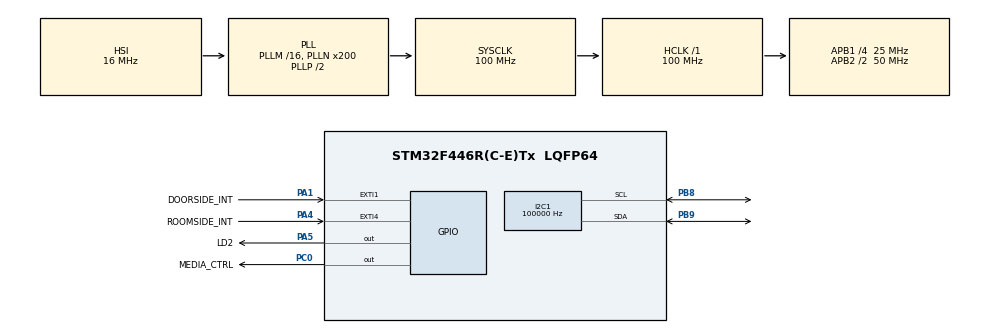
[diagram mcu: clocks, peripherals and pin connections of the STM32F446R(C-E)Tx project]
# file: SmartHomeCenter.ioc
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FREERTOS.Tasks01=defaultTask,0,128,StartDefaultTask,Default,NULL,Dynamic,NULL,NULL;mainTask,2,128,StartMainTask,Default,NULL,Dynamic,NULL,NULL
FREERTOS.configUSE_TIMERS=1
I2C1.ClockSpeed=100000
I2C1.OwnAddress=0x1C
Mcu.Family=STM32F4
Mcu.Name=STM32F446R(C-E)Tx
Mcu.Package=LQFP64
NVIC.EXTI1_IRQn=true\:5\:0\:false\:false\:true\:true\:true
NVIC.EXTI4_IRQn=true\:5\:0\:false\:false\:true\:true\:true
NVIC.PriorityGroup=NVIC_PRIORITYGROUP_4
PA1.GPIO_Label=DOORSIDE_INT
PA1.Signal=GPXTI1
PA4.GPIO_Label=ROOMSIDE_INT
PA4.Signal=GPXTI4
PA5.GPIO_Label=LD2
PA5.GPIO_Speed=GPIO_SPEED_FREQ_MEDIUM
PA5.Signal=GPIO_Output
PB8.Mode=I2C
PB8.Signal=I2C1_SCL
PB9.Mode=I2C
PB9.Signal=I2C1_SDA
PC0.GPIO_Label=MEDIA_CTRL
PC0.GPIO_PuPd=GPIO_PULLUP
PC0.PinState=GPIO_PIN_SET
PC0.Signal=GPIO_Output
ProjectManager.HeapSize=0x200
ProjectManager.StackSize=0x400
ProjectManager.TargetToolchain=EWARM V8
RCC.AHBFreq_Value=100000000
RCC.APB1CLKDivider=RCC_HCLK_DIV4
RCC.APB1Freq_Value=25000000
RCC.APB1TimFreq_Value=50000000
RCC.APB2CLKDivider=RCC_HCLK_DIV2
RCC.APB2Freq_Value=50000000
RCC.APB2TimFreq_Value=100000000
RCC.CortexFreq_Value=100000000
RCC.HCLKFreq_Value=100000000
RCC.PLLN=200
RCC.SYSCLKFreq_VALUE=100000000
RCC.SYSCLKSource=RCC_SYSCLKSOURCE_PLLCLK
RCC.USBFreq_Value=100000000
RCC.VCOOutputFreq_Value=200000000
VP_FREERTOS_VS_ENABLE.Mode=Enabled
board=custom

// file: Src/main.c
/**
  ******************************************************************************
  * @file           : main.c
  * @brief          : Main program body
  ******************************************************************************
  * This notice applies to any and all portions of this file
  * that are not between comment pairs USER CODE BEGIN and
  * USER CODE END. Other portions of this file, whether
  * inserted by the user or by software development tools
  * are owned by their respective copyright owners.
  *
  * Copyright (c) 2018 STMicroelectronics International N.V.
  * All rights reserved.
  *
  * Redistribution and use in source and binary forms, with or without
  * modification, are permitted, provided that the following conditions are met:
  *
  * 1. Redistribution of source code must retain the above copyright notice,
  *    this list of conditions and the following disclaimer.
  * 2. Redistributions in binary form must reproduce the above copyright notice,
  *    this list of conditions and the following disclaimer in the documentation
  *    and/or other materials provided with the distribution.
  * 3. Neither the name of STMicroelectronics nor the names of other
  *    contributors to this software may be used to endorse or promote products
  *    derived from this software without specific written permission.
  * 4. This software, including modifications and/or derivative works of this
  *    software, must execute solely and exclusively on microcontroller or
  *    microprocessor devices manufactured by or for STMicroelectronics.
  * 5. Redistribution and use of this software other than as permitted under
  *    this license is void and will automatically terminate your rights under
  *    this license.
  *
  * THIS SOFTWARE IS PROVIDED BY STMICROELECTRONICS AND CONTRIBUTORS "AS IS"
  * AND ANY EXPRESS, IMPLIED OR STATUTORY WARRANTIES, INCLUDING, BUT NOT
  * LIMITED TO, THE IMPLIED WARRANTIES OF MERCHANTABILITY, FITNESS FOR A
  * PARTICULAR PURPOSE AND NON-INFRINGEMENT OF THIRD PARTY INTELLECTUAL PROPERTY
  * RIGHTS ARE DISCLAIMED TO THE FULLEST EXTENT PERMITTED BY LAW. IN NO EVENT
  * SHALL STMICROELECTRONICS OR CONTRIBUTORS BE LIABLE FOR ANY DIRECT, INDIRECT,
  * INCIDENTAL, SPECIAL, EXEMPLARY, OR CONSEQUENTIAL DAMAGES (INCLUDING, BUT NOT
  * LIMITED TO, PROCUREMENT OF SUBSTITUTE GOODS OR SERVICES; LOSS OF USE, DATA,
  * OR PROFITS; OR BUSINESS INTERRUPTION) HOWEVER CAUSED AND ON ANY THEORY OF
  * LIABILITY, WHETHER IN CONTRACT, STRICT LIABILITY, OR TORT (INCLUDING
  * NEGLIGENCE OR OTHERWISE) ARISING IN ANY WAY OUT OF THE USE OF THIS SOFTWARE,
  * EVEN IF ADVISED OF THE POSSIBILITY OF SUCH DAMAGE.
  *
  ******************************************************************************
  */
#include "main.h"
#include "stm32f4xx_hal.h"
#include "cmsis_os.h"
#include "i2c.h"
#include "gpio.h"

/* USER CODE BEGIN PV */
/* Private variables ---------------------------------------------------------*/

/* USER CODE END PV */

void SystemClock_Config(void);
void MX_FREERTOS_Init(void);

/* USER CODE BEGIN PFP */
/* Private function prototypes -----------------------------------------------*/

/* USER CODE END PFP */

int main(void)
{

  /* MCU Configuration----------------------------------------------------------*/

  /* Reset of all peripherals, Initializes the Flash interface and the Systick. */
  HAL_Init();

  /* Configure the system clock */
  SystemClock_Config();

  /* Initialize all configured peripherals */
  MX_GPIO_Init();
  MX_I2C1_Init();

  /* Call init function for freertos objects (in freertos.c) */
  MX_FREERTOS_Init();

  /* Start scheduler */
  osKernelStart();

  /* We should never get here as control is now taken by the scheduler */

  /* Infinite loop */
  while (1)
  {

  }

}

void SystemClock_Config(void)
{

  RCC_OscInitTypeDef RCC_OscInitStruct;
  RCC_ClkInitTypeDef RCC_ClkInitStruct;

    /**Configure the main internal regulator output voltage
    */
  __HAL_RCC_PWR_CLK_ENABLE();

  __HAL_PWR_VOLTAGESCALING_CONFIG(PWR_REGULATOR_VOLTAGE_SCALE3);

    /**Initializes the CPU, AHB and APB busses clocks
    */
  RCC_OscInitStruct.OscillatorType = RCC_OSCILLATORTYPE_HSI;
  RCC_OscInitStruct.HSIState = RCC_HSI_ON;
  RCC_OscInitStruct.HSICalibrationValue = 16;
  RCC_OscInitStruct.PLL.PLLState = RCC_PLL_ON;
  RCC_OscInitStruct.PLL.PLLSource = RCC_PLLSOURCE_HSI;
  RCC_OscInitStruct.PLL.PLLM = 16;
  RCC_OscInitStruct.PLL.PLLN = 200;
  RCC_OscInitStruct.PLL.PLLP = RCC_PLLP_DIV2;
  RCC_OscInitStruct.PLL.PLLQ = 2;
  RCC_OscInitStruct.PLL.PLLR = 2;
  if (HAL_RCC_OscConfig(&RCC_OscInitStruct) != HAL_OK)
  {
    _Error_Handler(__FILE__, __LINE__);
  }

    /**Initializes the CPU, AHB and APB busses clocks
    */
  RCC_ClkInitStruct.ClockType = RCC_CLOCKTYPE_HCLK|RCC_CLOCKTYPE_SYSCLK
                              |RCC_CLOCKTYPE_PCLK1|RCC_CLOCKTYPE_PCLK2;
  RCC_ClkInitStruct.SYSCLKSource = RCC_SYSCLKSOURCE_PLLCLK;
  RCC_ClkInitStruct.AHBCLKDivider = RCC_SYSCLK_DIV1;
  RCC_ClkInitStruct.APB1CLKDivider = RCC_HCLK_DIV4;
  RCC_ClkInitStruct.APB2CLKDivider = RCC_HCLK_DIV2;

  if (HAL_RCC_ClockConfig(&RCC_ClkInitStruct, FLASH_LATENCY_3) != HAL_OK)
  {
    _Error_Handler(__FILE__, __LINE__);
  }

    /**Configure the Systick interrupt time
    */
  HAL_SYSTICK_Config(HAL_RCC_GetHCLKFreq()/1000);

    /**Configure the Systick
    */
  HAL_SYSTICK_CLKSourceConfig(SYSTICK_CLKSOURCE_HCLK);

  /* SysTick_IRQn interrupt configuration */
  HAL_NVIC_SetPriority(SysTick_IRQn, 15, 0);
}

void _Error_Handler(char *file, int line)
{
  while(1)
  {
  }
}

/************************ (C) COPYRIGHT STMicroelectronics *****END OF FILE****/

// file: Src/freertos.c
/* USER CODE BEGIN Header */
/**
  ******************************************************************************
  * File Name          : freertos.c
  * Description        : Code for freertos applications
  ******************************************************************************
  * This notice applies to any and all portions of this file
  * that are not between comment pairs USER CODE BEGIN and
  * USER CODE END. Other portions of this file, whether
  * inserted by the user or by software development tools
  * are owned by their respective copyright owners.
  *
  * Copyright (c) 2018 STMicroelectronics International N.V.
  * All rights reserved.
  *
  * Redistribution and use in source and binary forms, with or without
  * modification, are permitted, provided that the following conditions are met:
  *
  * 1. Redistribution of source code must retain the above copyright notice,
  *    this list of conditions and the following disclaimer.
  * 2. Redistributions in binary form must reproduce the above copyright notice,
  *    this list of conditions and the following disclaimer in the documentation
  *    and/or other materials provided with the distribution.
  * 3. Neither the name of STMicroelectronics nor the names of other
  *    contributors to this software may be used to endorse or promote products
  *    derived from this software without specific written permission.
  * 4. This software, including modifications and/or derivative works of this
  *    software, must execute solely and exclusively on microcontroller or
  *    microprocessor devices manufactured by or for STMicroelectronics.
  * 5. Redistribution and use of this software other than as permitted under
  *    this license is void and will automatically terminate your rights under
  *    this license.
  *
  * THIS SOFTWARE IS PROVIDED BY STMICROELECTRONICS AND CONTRIBUTORS "AS IS"
  * AND ANY EXPRESS, IMPLIED OR STATUTORY WARRANTIES, INCLUDING, BUT NOT
  * LIMITED TO, THE IMPLIED WARRANTIES OF MERCHANTABILITY, FITNESS FOR A
  * PARTICULAR PURPOSE AND NON-INFRINGEMENT OF THIRD PARTY INTELLECTUAL PROPERTY
  * RIGHTS ARE DISCLAIMED TO THE FULLEST EXTENT PERMITTED BY LAW. IN NO EVENT
  * SHALL STMICROELECTRONICS OR CONTRIBUTORS BE LIABLE FOR ANY DIRECT, INDIRECT,
  * INCIDENTAL, SPECIAL, EXEMPLARY, OR CONSEQUENTIAL DAMAGES (INCLUDING, BUT NOT
  * LIMITED TO, PROCUREMENT OF SUBSTITUTE GOODS OR SERVICES; LOSS OF USE, DATA,
  * OR PROFITS; OR BUSINESS INTERRUPTION) HOWEVER CAUSED AND ON ANY THEORY OF
  * LIABILITY, WHETHER IN CONTRACT, STRICT LIABILITY, OR TORT (INCLUDING
  * NEGLIGENCE OR OTHERWISE) ARISING IN ANY WAY OUT OF THE USE OF THIS SOFTWARE,
  * EVEN IF ADVISED OF THE POSSIBILITY OF SUCH DAMAGE.
  *
  ******************************************************************************
  */
/* USER CODE END Header */

#include "FreeRTOS.h"
#include "task.h"
#include "main.h"
#include "cmsis_os.h"

/* USER CODE BEGIN Includes */
#include "stm32f4xx_hal.h"
#include "stm32f4xx.h"
#include "HumanInterface.h"
#include "BodySensor.h"
#include "Media.h"
#include <stdio.h>
/* USER CODE END Includes */

osThreadId defaultTaskHandle;
osThreadId mainTaskHandle;

void StartDefaultTask(void const * argument);
void StartMainTask(void const * argument);

void MX_FREERTOS_Init(void); /* (MISRA C 2004 rule 8.1) */

void MX_FREERTOS_Init(void) {

  /* Create the thread(s) */
  /* definition and creation of defaultTask */
  osThreadDef(defaultTask, StartDefaultTask, osPriorityNormal, 0, 128);
  defaultTaskHandle = osThreadCreate(osThread(defaultTask), NULL);

  /* definition and creation of mainTask */
  osThreadDef(mainTask, StartMainTask, osPriorityHigh, 0, 128);
  mainTaskHandle = osThreadCreate(osThread(mainTask), NULL);

}

void StartDefaultTask(void const * argument)
{

  /* USER CODE BEGIN StartDefaultTask */

  /* Infinite loop */
  for(;;)
  {
    osDelay(1000);
    HAL_GPIO_TogglePin(LD2_GPIO_Port, LD2_Pin);
  }
  /* USER CODE END StartDefaultTask */
}

void StartMainTask(void const * argument)
{
  /* USER CODE BEGIN StartMainTask */
	X_BODYSS_INFO *pInfo;

	HI_Init();
	HI_ShowStrEN(0, 2, "D:", 2, 1);
	HI_ShowStrEN(32, 2, "R:", 2, 1);

	Media_init();

	BodySS_Init();
	pInfo = BodySS_GetInfo();
  /* Infinite loop */
  for(;;)
  {
    osDelay(500);
    if(pInfo->eDSStatus == eHigh)
    {
    	HI_ShowStrEN(16, 2, "H", 2, 1);
    }
    else
    {
    	HI_ShowStrEN(16, 2, "L", 2, 1);
    }

    if(pInfo->eRSStatus == eHigh)
    {
    	HI_ShowStrEN(48, 2, "H", 2, 1);
    }
    else
    {
    	HI_ShowStrEN(48, 2, "L", 2, 1);
    }

    BodySS_Thread();
    if(BodySS_IsHumanOut())
    {
    	Media_Start();
    	BodySS_Reset();
    }

  }
  /* USER CODE END StartMainTask */
}

/************************ (C) COPYRIGHT STMicroelectronics *****END OF FILE****/
